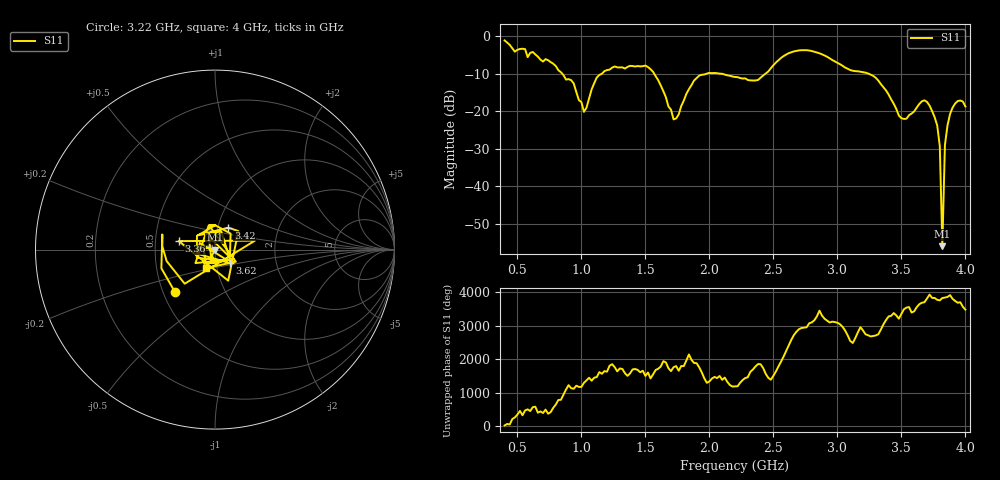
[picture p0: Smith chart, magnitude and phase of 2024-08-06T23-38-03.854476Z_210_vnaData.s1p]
!Created with skrf (http://scikit-rf.org).
# Hz S RI R 50.0
!freq ReS11 ImS11
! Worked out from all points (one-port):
!   181 points, 400 MHz to 4 GHz, reference 50 ohm
!   lowest |S11| = -56.0 dB at 3.82 GHz (marker M1), VSWR 1.00, Z = 49.9 - j0.121 ohm
!   |S11| at or under -10 dB: 1.568 GHz to 1.983 GHz (415.3 MHz wide, 23.4 % of centre); 2.076 GHz to 2.439 GHz (363.6 MHz wide, 16.1 % of centre); 3.24 GHz to end of sweep (the widest 3 of 4)
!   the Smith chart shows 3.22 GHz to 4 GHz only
!   S11 on the Smith chart (normalised r, x): 3.22 GHz: 0.58, -0.30; 3.36 GHz: 0.66, +0.07; 3.42 GHz: 1.12, +0.28; 3.62 GHz: 1.16, -0.18; 4 GHz: 0.88, -0.19
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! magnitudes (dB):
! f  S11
! 400 MHz  -1.2
! 860 MHz  -10.4
! 940 MHz  -12.6
! 1.02 GHz  -20.2
! 1.12 GHz  -11.1
! 1.3 GHz  -8.4
! 1.52 GHz  -8.3
! 1.72 GHz  -22.2
! 1.76 GHz  -20.9
! 1.92 GHz  -10.6
! 2.2 GHz  -10.9
! 2.38 GHz  -11.7
! 2.66 GHz  -4.1
! 3.1 GHz  -9.1
! 3.22 GHz  -9.8
! 3.36 GHz  -13.7
! 3.42 GHz  -16.9
! 3.5 GHz  -21.9
! 3.56 GHz  -21.1
! 3.62 GHz  -19.1
! 3.7 GHz  -17.6
! 3.78 GHz  -23.9
! 3.8 GHz  -29.3
! 3.82 GHz  -56.0
! 3.84 GHz  -29.1
! 3.86 GHz  -23.9
! 3.92 GHz  -18.0
! 4 GHz  -18.8
